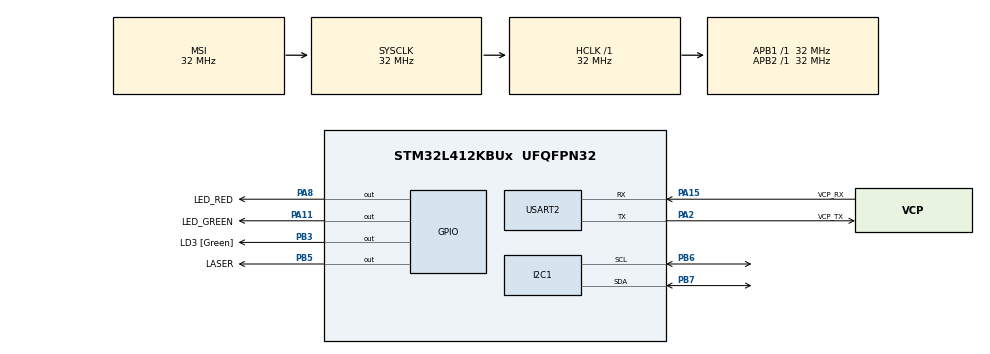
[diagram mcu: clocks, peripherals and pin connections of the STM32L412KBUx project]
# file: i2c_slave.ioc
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Mcu.Family=STM32L4
PB3\ (JTDO/TRACESWO).GPIO_Label=LD3 [Green]
RCC.MSI_VALUE=32000000
RCC.CortexFreq_Value=32000000
PA13\ (JTMS/SWDIO).Mode=Serial_Wire
PA0-CK_IN.Mode=HSE-External-Clock-Source-for-LittleOrca
PA11.GPIO_Label=LED_GREEN
PC15-OSC32_OUT\ (PC15).Signal=RCC_OSC32_OUT
PA15\ (JTDI).Signal=USART2_RX
PC15-OSC32_OUT\ (PC15).Mode=LSE-External-Oscillator
ProjectManager.StackSize=0x400
PC14-OSC32_IN\ (PC14).Mode=LSE-External-Oscillator
PA14\ (JTCK/SWCLK).Signal=SYS_JTCK-SWCLK
PA15\ (JTDI).Mode=Asynchronous
PA8.GPIO_Label=LED_RED
PB3\ (JTDO/TRACESWO).Signal=GPIO_Output
ProjectManager.TargetToolchain=STM32CubeIDE
RCC.HCLKFreq_Value=32000000
RCC.FLatency=FLASH_LATENCY_1
RCC.APB2TimFreq_Value=32000000
PB6.Signal=I2C1_SCL
I2C1.Timing=0x00707CBB
PB6.Mode=I2C
RCC.HSICalibrationValue=16
RCC.USBFreq_Value=32000000
RCC.AHBFreq_Value=32000000
RCC.HSE_VALUE=8000000
board=NUCLEO-L412KB
USART2.VirtualMode-Asynchronous=VM_ASYNC
RCC.VCOOutputFreq_Value=256000000
PA0-CK_IN.Signal=RCC_CK_IN
PA13\ (JTMS/SWDIO).GPIO_Label=SWDIO
RCC.APB2Freq_Value=32000000
VP_TIM2_VS_ClockSourceINT.Mode=Internal
RCC.LSE_Drive_Capability=RCC_LSEDRIVE_LOW
NVIC.TIM2_IRQn=true\:0\:0\:false\:false\:true\:true\:true
RCC.ADCFreq_Value=32000000
PB7.Signal=I2C1_SDA
PA8.Signal=GPIO_Output
PA14\ (JTCK/SWCLK).Mode=Serial_Wire
TIM2.Period=3200
PA15\ (JTDI).GPIO_Label=VCP_RX
Mcu.Name=STM32L412KBUx
PA2.Signal=USART2_TX
I2C1.OwnAddress=0x23
RCC.SYSCLKFreq_VALUE=32000000
Mcu.Package=UFQFPN32
PB5.Signal=GPIO_Output
TIM2.Prescaler=1000
PC14-OSC32_IN\ (PC14).Signal=RCC_OSC32_IN
PA2.GPIO_Label=VCP_TX
PB7.Mode=I2C
PA11.Signal=GPIO_Output
ProjectManager.HeapSize=0x200
RCC.HSI_VALUE=16000000
NVIC.PriorityGroup=NVIC_PRIORITYGROUP_4
PA14\ (JTCK/SWCLK).GPIO_Label=SWCLK
PB5.GPIO_Label=LASER
RCC.APB1TimFreq_Value=32000000
PA2.Mode=Asynchronous
TIM2.AutoReloadPreload=TIM_AUTORELOAD_PRELOAD_ENABLE
RCC.APB1Freq_Value=32000000
RCC.MSIClockRange=RCC_MSIRANGE_10
RCC.HSI48_VALUE=48000000
PA13\ (JTMS/SWDIO).Signal=SYS_JTMS-SWDIO

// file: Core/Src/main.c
/* USER CODE BEGIN Header */
/**
  ******************************************************************************
  * @file           : main.c
  * @brief          : Main program body
  ******************************************************************************
  * @attention
  *
  * <h2><center>&copy; Copyright (c) 2021 STMicroelectronics.
  * All rights reserved.</center></h2>
  *
  * This software component is licensed by ST under BSD 3-Clause license,
  * the "License"; You may not use this file except in compliance with the
  * License. You may obtain a copy of the License at:
  *                        opensource.org/licenses/BSD-3-Clause
  *
  ******************************************************************************
  */
/* USER CODE END Header */
#include "main.h"

/* USER CODE BEGIN Includes */
#include "stdint.h"
/* USER CODE END Includes */

I2C_HandleTypeDef hi2c1;

TIM_HandleTypeDef htim2;

UART_HandleTypeDef huart2;

void SystemClock_Config(void);
static void MX_GPIO_Init(void);
static void MX_USART2_UART_Init(void);
static void MX_I2C1_Init(void);
static void MX_TIM2_Init(void);

/* USER CODE BEGIN 0 */
uint8_t laser_en = 0;
uint8_t tim_cnt = 0;
uint8_t laser_status = 0x78;
uint8_t data_buff = 0;
/* USER CODE END 0 */

int main(void)
{

  /* MCU Configuration--------------------------------------------------------*/

  /* Reset of all peripherals, Initializes the Flash interface and the Systick. */
  HAL_Init();

  /* Configure the system clock */
  SystemClock_Config();

  /* Initialize all configured peripherals */
  MX_GPIO_Init();
  MX_USART2_UART_Init();
  MX_I2C1_Init();
  MX_TIM2_Init();
  /* USER CODE BEGIN 2 */
  HAL_TIM_Base_Start_IT(&htim2);
  /* USER CODE END 2 */

  /* Infinite loop */
  /* USER CODE BEGIN WHILE */
  while (1)
  {
	  HAL_I2C_Slave_Receive(&hi2c1, &data_buff, 1, 200);
	  if (data_buff == 0x45){
		  HAL_GPIO_WritePin(LED_RED_GPIO_Port, LED_RED_Pin, 0);
		  HAL_GPIO_WritePin(LED_GREEN_GPIO_Port, LED_GREEN_Pin, 0);
		  HAL_GPIO_WritePin(LASER_GPIO_Port, LASER_Pin, 0);
		  HAL_GPIO_WritePin(LD3_GPIO_Port, LD3_Pin, 0);
		  laser_en = 1;
		  tim_cnt = 0;
		  data_buff = 0;
	  }
	  else if(data_buff == 0x23){
		  HAL_I2C_Slave_Transmit(&hi2c1, &laser_status, 1, 200);
		  data_buff = 0;
	  }
    /* USER CODE END WHILE */

  }
}

void SystemClock_Config(void)
{
  RCC_OscInitTypeDef RCC_OscInitStruct = {0};
  RCC_ClkInitTypeDef RCC_ClkInitStruct = {0};
  RCC_PeriphCLKInitTypeDef PeriphClkInit = {0};

  /** Configure LSE Drive Capability
  */
  HAL_PWR_EnableBkUpAccess();
  __HAL_RCC_LSEDRIVE_CONFIG(RCC_LSEDRIVE_LOW);
  /** Configure the main internal regulator output voltage
  */
  if (HAL_PWREx_ControlVoltageScaling(PWR_REGULATOR_VOLTAGE_SCALE1) != HAL_OK)
  {
    Error_Handler();
  }
  /** Initializes the RCC Oscillators according to the specified parameters
  * in the RCC_OscInitTypeDef structure.
  */
  RCC_OscInitStruct.OscillatorType = RCC_OSCILLATORTYPE_LSE|RCC_OSCILLATORTYPE_MSI;
  RCC_OscInitStruct.LSEState = RCC_LSE_ON;
  RCC_OscInitStruct.MSIState = RCC_MSI_ON;
  RCC_OscInitStruct.MSICalibrationValue = 0;
  RCC_OscInitStruct.MSIClockRange = RCC_MSIRANGE_10;
  RCC_OscInitStruct.PLL.PLLState = RCC_PLL_NONE;
  if (HAL_RCC_OscConfig(&RCC_OscInitStruct) != HAL_OK)
  {
    Error_Handler();
  }
  /** Initializes the CPU, AHB and APB buses clocks
  */
  RCC_ClkInitStruct.ClockType = RCC_CLOCKTYPE_HCLK|RCC_CLOCKTYPE_SYSCLK
                              |RCC_CLOCKTYPE_PCLK1|RCC_CLOCKTYPE_PCLK2;
  RCC_ClkInitStruct.SYSCLKSource = RCC_SYSCLKSOURCE_MSI;
  RCC_ClkInitStruct.AHBCLKDivider = RCC_SYSCLK_DIV1;
  RCC_ClkInitStruct.APB1CLKDivider = RCC_HCLK_DIV1;
  RCC_ClkInitStruct.APB2CLKDivider = RCC_HCLK_DIV1;

  if (HAL_RCC_ClockConfig(&RCC_ClkInitStruct, FLASH_LATENCY_1) != HAL_OK)
  {
    Error_Handler();
  }
  PeriphClkInit.PeriphClockSelection = RCC_PERIPHCLK_USART2|RCC_PERIPHCLK_I2C1;
  PeriphClkInit.Usart2ClockSelection = RCC_USART2CLKSOURCE_PCLK1;
  PeriphClkInit.I2c1ClockSelection = RCC_I2C1CLKSOURCE_PCLK1;
  if (HAL_RCCEx_PeriphCLKConfig(&PeriphClkInit) != HAL_OK)
  {
    Error_Handler();
  }
  /** Enable MSI Auto calibration
  */
  HAL_RCCEx_EnableMSIPLLMode();
}

static void MX_I2C1_Init(void)
{

  hi2c1.Instance = I2C1;
  hi2c1.Init.Timing = 0x00707CBB;
  hi2c1.Init.OwnAddress1 = 70;
  hi2c1.Init.AddressingMode = I2C_ADDRESSINGMODE_7BIT;
  hi2c1.Init.DualAddressMode = I2C_DUALADDRESS_DISABLE;
  hi2c1.Init.OwnAddress2 = 0;
  hi2c1.Init.OwnAddress2Masks = I2C_OA2_NOMASK;
  hi2c1.Init.GeneralCallMode = I2C_GENERALCALL_DISABLE;
  hi2c1.Init.NoStretchMode = I2C_NOSTRETCH_DISABLE;
  if (HAL_I2C_Init(&hi2c1) != HAL_OK)
  {
    Error_Handler();
  }
  /** Configure Analogue filter
  */
  if (HAL_I2CEx_ConfigAnalogFilter(&hi2c1, I2C_ANALOGFILTER_ENABLE) != HAL_OK)
  {
    Error_Handler();
  }
  /** Configure Digital filter
  */
  if (HAL_I2CEx_ConfigDigitalFilter(&hi2c1, 0) != HAL_OK)
  {
    Error_Handler();
  }

}

static void MX_TIM2_Init(void)
{

  TIM_ClockConfigTypeDef sClockSourceConfig = {0};
  TIM_MasterConfigTypeDef sMasterConfig = {0};

  htim2.Instance = TIM2;
  htim2.Init.Prescaler = 1000;
  htim2.Init.CounterMode = TIM_COUNTERMODE_UP;
  htim2.Init.Period = 3200;
  htim2.Init.ClockDivision = TIM_CLOCKDIVISION_DIV1;
  htim2.Init.AutoReloadPreload = TIM_AUTORELOAD_PRELOAD_ENABLE;
  if (HAL_TIM_Base_Init(&htim2) != HAL_OK)
  {
    Error_Handler();
  }
  sClockSourceConfig.ClockSource = TIM_CLOCKSOURCE_INTERNAL;
  if (HAL_TIM_ConfigClockSource(&htim2, &sClockSourceConfig) != HAL_OK)
  {
    Error_Handler();
  }
  sMasterConfig.MasterOutputTrigger = TIM_TRGO_RESET;
  sMasterConfig.MasterSlaveMode = TIM_MASTERSLAVEMODE_DISABLE;
  if (HAL_TIMEx_MasterConfigSynchronization(&htim2, &sMasterConfig) != HAL_OK)
  {
    Error_Handler();
  }

}

static void MX_USART2_UART_Init(void)
{

  huart2.Instance = USART2;
  huart2.Init.BaudRate = 115200;
  huart2.Init.WordLength = UART_WORDLENGTH_8B;
  huart2.Init.StopBits = UART_STOPBITS_1;
  huart2.Init.Parity = UART_PARITY_NONE;
  huart2.Init.Mode = UART_MODE_TX_RX;
  huart2.Init.HwFlowCtl = UART_HWCONTROL_NONE;
  huart2.Init.OverSampling = UART_OVERSAMPLING_16;
  huart2.Init.OneBitSampling = UART_ONE_BIT_SAMPLE_DISABLE;
  huart2.AdvancedInit.AdvFeatureInit = UART_ADVFEATURE_NO_INIT;
  if (HAL_UART_Init(&huart2) != HAL_OK)
  {
    Error_Handler();
  }

}

static void MX_GPIO_Init(void)
{
  GPIO_InitTypeDef GPIO_InitStruct = {0};

  /* GPIO Ports Clock Enable */
  __HAL_RCC_GPIOC_CLK_ENABLE();
  __HAL_RCC_GPIOA_CLK_ENABLE();
  __HAL_RCC_GPIOB_CLK_ENABLE();

  /*Configure GPIO pin Output Level */
  HAL_GPIO_WritePin(GPIOA, LED_RED_Pin|LED_GREEN_Pin, GPIO_PIN_RESET);

  /*Configure GPIO pin Output Level */
  HAL_GPIO_WritePin(GPIOB, LD3_Pin|LASER_Pin, GPIO_PIN_RESET);

  /*Configure GPIO pins : LED_RED_Pin LED_GREEN_Pin */
  GPIO_InitStruct.Pin = LED_RED_Pin|LED_GREEN_Pin;
  GPIO_InitStruct.Mode = GPIO_MODE_OUTPUT_PP;
  GPIO_InitStruct.Pull = GPIO_NOPULL;
  GPIO_InitStruct.Speed = GPIO_SPEED_FREQ_LOW;
  HAL_GPIO_Init(GPIOA, &GPIO_InitStruct);

  /*Configure GPIO pins : LD3_Pin LASER_Pin */
  GPIO_InitStruct.Pin = LD3_Pin|LASER_Pin;
  GPIO_InitStruct.Mode = GPIO_MODE_OUTPUT_PP;
  GPIO_InitStruct.Pull = GPIO_NOPULL;
  GPIO_InitStruct.Speed = GPIO_SPEED_FREQ_LOW;
  HAL_GPIO_Init(GPIOB, &GPIO_InitStruct);

}

/* USER CODE BEGIN 4 */
void HAL_TIM_PeriodElapsedCallback(TIM_HandleTypeDef* htim)
{
    if (laser_en){
    	tim_cnt += 1;
    	if (tim_cnt >= 50){
			  HAL_GPIO_WritePin(LED_RED_GPIO_Port, LED_RED_Pin, 0);
			  HAL_GPIO_WritePin(LED_GREEN_GPIO_Port, LED_GREEN_Pin, 0);
			  HAL_GPIO_WritePin(LASER_GPIO_Port, LASER_Pin, 0);
			  laser_status = 0x78;
			  laser_en = 0;
		  }
		  else if (tim_cnt >= 40){
			  HAL_GPIO_WritePin(LED_RED_GPIO_Port, LED_RED_Pin, 1);
			  HAL_GPIO_WritePin(LED_GREEN_GPIO_Port, LED_GREEN_Pin, 0);
			  HAL_GPIO_WritePin(LASER_GPIO_Port, LASER_Pin, 0);
			  HAL_GPIO_WritePin(LD3_GPIO_Port, LD3_Pin, 0);
			  laser_status = 0x56;
		  }
		  else if (tim_cnt >= 10){
			  HAL_GPIO_WritePin(LED_RED_GPIO_Port, LED_RED_Pin, 0);
			  HAL_GPIO_WritePin(LED_GREEN_GPIO_Port, LED_GREEN_Pin, 1);
			  HAL_GPIO_WritePin(LASER_GPIO_Port, LASER_Pin, 1);
			  HAL_GPIO_WritePin(LD3_GPIO_Port, LD3_Pin, 1);
			  laser_status = 0x34;
		  }
		  else {
			  HAL_GPIO_WritePin(LED_RED_GPIO_Port, LED_RED_Pin, 1);
			  HAL_GPIO_WritePin(LED_GREEN_GPIO_Port, LED_GREEN_Pin, 0);
			  HAL_GPIO_WritePin(LASER_GPIO_Port, LASER_Pin, 0);
			  laser_status = 0x12;
		  }
    }
}
/* USER CODE END 4 */

void Error_Handler(void)
{
  __disable_irq();
  while (1)
  {
  }
}

/************************ (C) COPYRIGHT STMicroelectronics *****END OF FILE****/
